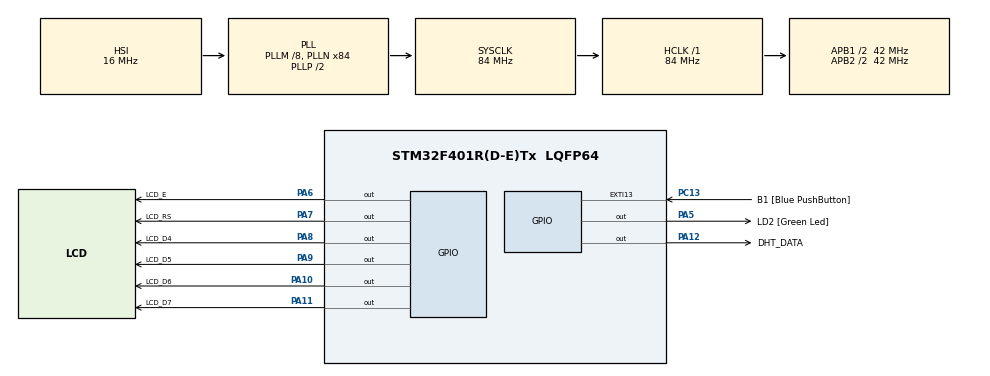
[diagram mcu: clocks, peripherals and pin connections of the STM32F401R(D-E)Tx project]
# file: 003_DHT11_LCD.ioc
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Mcu.Family=STM32F4
Mcu.Name=STM32F401R(D-E)Tx
Mcu.Package=LQFP64
NVIC.PriorityGroup=NVIC_PRIORITYGROUP_0
NVIC.TIM1_UP_TIM10_IRQn=true\:0\:0\:false\:false\:true\:true\:true
PA10.GPIO_Label=LCD_D6
PA10.Signal=GPIO_Output
PA11.GPIO_Label=LCD_D7
PA11.Signal=GPIO_Output
PA12.GPIO_Label=DHT_DATA
PA12.GPIO_PuPd=GPIO_NOPULL
PA12.Signal=GPIO_Output
PA5.GPIO_Label=LD2 [Green Led]
PA5.GPIO_Mode=GPIO_MODE_OUTPUT_PP
PA5.GPIO_PuPd=GPIO_NOPULL
PA5.GPIO_Speed=GPIO_SPEED_FREQ_LOW
PA5.Signal=GPIO_Output
PA6.GPIO_Label=LCD_E
PA6.Signal=GPIO_Output
PA7.GPIO_Label=LCD_RS
PA7.Signal=GPIO_Output
PA8.GPIO_Label=LCD_D4
PA8.Signal=GPIO_Output
PA9.GPIO_Label=LCD_D5
PA9.Signal=GPIO_Output
PC13-ANTI_TAMP.GPIO_Label=B1 [Blue PushButton]
PC13-ANTI_TAMP.GPIO_ModeDefaultEXTI=GPIO_MODE_IT_FALLING
PC13-ANTI_TAMP.GPIO_PuPd=GPIO_NOPULL
PC13-ANTI_TAMP.Signal=GPXTI13
ProjectManager.HeapSize=0x200
ProjectManager.StackSize=0x400
ProjectManager.TargetToolchain=MDK-ARM V5.27
RCC.48MHZClocksFreq_Value=24000000
RCC.AHBFreq_Value=84000000
RCC.APB1CLKDivider=RCC_HCLK_DIV2
RCC.APB1Freq_Value=42000000
RCC.APB1TimFreq_Value=84000000
RCC.APB2CLKDivider=RCC_HCLK_DIV2
RCC.APB2Freq_Value=42000000
RCC.APB2TimFreq_Value=84000000
RCC.CortexFreq_Value=84000000
RCC.HCLKFreq_Value=84000000
RCC.HSE_VALUE=8000000
RCC.HSI_VALUE=16000000
RCC.LSE_VALUE=32768
RCC.PLLM=8
RCC.PLLN=84
RCC.PLLQ=7
RCC.SYSCLKFreq_VALUE=84000000
RCC.SYSCLKSource=RCC_SYSCLKSOURCE_PLLCLK
RCC.VCOOutputFreq_Value=168000000
TIM10.Period=65534
TIM10.Prescaler=83
VP_TIM10_VS_ClockSourceINT.Mode=Enable_Timer
board=NUCLEO-F401RE

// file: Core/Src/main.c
/* USER CODE BEGIN Header */
/**
  ******************************************************************************
  * @file           : main.c
  * @brief          : Main program body
  ******************************************************************************
  * @attention
  *
  * <h2><center>&copy; Copyright (c) 2021 STMicroelectronics.
  * All rights reserved.</center></h2>
  *
  * This software component is licensed by ST under BSD 3-Clause license,
  * the "License"; You may not use this file except in compliance with the
  * License. You may obtain a copy of the License at:
  *                        opensource.org/licenses/BSD-3-Clause
  *
  ******************************************************************************
  */
/* USER CODE END Header */
#include "main.h"
#include "tim.h"
#include "gpio.h"

/* USER CODE BEGIN Includes */
#include "lcd.h"
#include "stdio.h"
#include "dht.h"
/* USER CODE END Includes */

/* USER CODE BEGIN PTD */
uint32_t deneme;
/* USER CODE END PTD */

void SystemClock_Config(void);

int main(void)
{

  /* MCU Configuration--------------------------------------------------------*/

  /* Reset of all peripherals, Initializes the Flash interface and the Systick. */
  HAL_Init();

  /* Configure the system clock */
  SystemClock_Config();

  /* Initialize all configured peripherals */
  MX_GPIO_Init();
  MX_TIM10_Init();
  /* USER CODE BEGIN 2 */
	//HAL_TIM_Base_Init(&htim10);
	HAL_TIM_Base_Start_IT(&htim10);

	HAL_Delay(500);
	LCD_Init();
	HAL_Delay(100);
	LCD_Clear();
  HAL_Delay(100);

  /* USER CODE END 2 */

  /* Infinite loop */
  while (1)
  {

    /* USER CODE BEGIN 3 */

		Display_Temp(Temperature);
		Display_Hum(Humidity);

		DHT11_Init();
		Presence=DHT_Response();
		Rh_byte1=DHT_Read();
		Rh_byte2=DHT_Read();
		Temp_byte1=DHT_Read();
		Temp_byte2=DHT_Read();

		SUM=DHT_Read();

		TEMP=Temp_byte1;
		RH=Rh_byte1;

		Temperature = (float) TEMP;
		Humidity = (float) RH;

		HAL_Delay(300);

  }
  /* USER CODE END 3 */
}

void SystemClock_Config(void)
{
  RCC_OscInitTypeDef RCC_OscInitStruct = {0};
  RCC_ClkInitTypeDef RCC_ClkInitStruct = {0};

  /** Configure the main internal regulator output voltage
  */
  __HAL_RCC_PWR_CLK_ENABLE();
  __HAL_PWR_VOLTAGESCALING_CONFIG(PWR_REGULATOR_VOLTAGE_SCALE2);
  /** Initializes the RCC Oscillators according to the specified parameters
  * in the RCC_OscInitTypeDef structure.
  */
  RCC_OscInitStruct.OscillatorType = RCC_OSCILLATORTYPE_HSI;
  RCC_OscInitStruct.HSIState = RCC_HSI_ON;
  RCC_OscInitStruct.HSICalibrationValue = RCC_HSICALIBRATION_DEFAULT;
  RCC_OscInitStruct.PLL.PLLState = RCC_PLL_ON;
  RCC_OscInitStruct.PLL.PLLSource = RCC_PLLSOURCE_HSI;
  RCC_OscInitStruct.PLL.PLLM = 8;
  RCC_OscInitStruct.PLL.PLLN = 84;
  RCC_OscInitStruct.PLL.PLLP = RCC_PLLP_DIV2;
  RCC_OscInitStruct.PLL.PLLQ = 7;
  if (HAL_RCC_OscConfig(&RCC_OscInitStruct) != HAL_OK)
  {
    Error_Handler();
  }
  /** Initializes the CPU, AHB and APB buses clocks
  */
  RCC_ClkInitStruct.ClockType = RCC_CLOCKTYPE_HCLK|RCC_CLOCKTYPE_SYSCLK
                              |RCC_CLOCKTYPE_PCLK1|RCC_CLOCKTYPE_PCLK2;
  RCC_ClkInitStruct.SYSCLKSource = RCC_SYSCLKSOURCE_PLLCLK;
  RCC_ClkInitStruct.AHBCLKDivider = RCC_SYSCLK_DIV1;
  RCC_ClkInitStruct.APB1CLKDivider = RCC_HCLK_DIV2;
  RCC_ClkInitStruct.APB2CLKDivider = RCC_HCLK_DIV2;

  if (HAL_RCC_ClockConfig(&RCC_ClkInitStruct, FLASH_LATENCY_2) != HAL_OK)
  {
    Error_Handler();
  }
}

void Error_Handler(void)
{
  __disable_irq();
  while (1)
  {
  }
}

/************************ (C) COPYRIGHT STMicroelectronics *****END OF FILE****/
